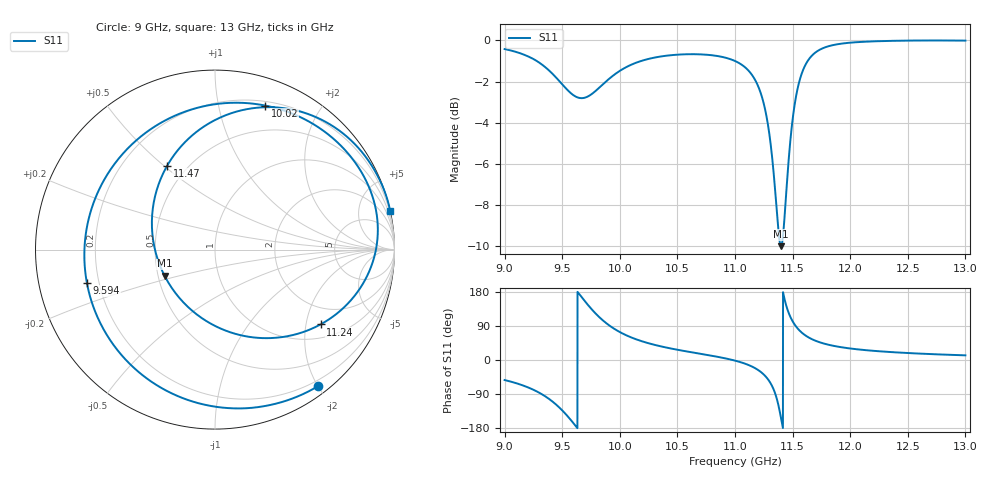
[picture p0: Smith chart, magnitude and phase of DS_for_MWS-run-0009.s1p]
! TOUCHSTONE file generated by CST DESIGN STUDIO
! Date and time: Tue Feb  4 18:21:18 2025
! Project name: C:\Work\MatlabApps\UnitCellOptimizationMatlab\CST\unitcell.cst
! Tree item: Tasks\Sweep1\SPara1\S-Parameters
! Header version: 2024
! Port assignment regex: !\s*Touchstone port\s*([0-9]+)\s*=\s*(CST MWS port|CST DES external port|CST DES block port)\s*(.+)\s* \(\"(.*)\"\)(\s*mode\s*([0-9]+))?.*
! Touchstone port assignment:
! Touchstone port 1 = CST DES external port 1 ("")
# GHz S MA R 50
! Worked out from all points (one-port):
!   4001 points, 9 GHz to 13 GHz, reference 50 ohm
!   lowest |S11| = -10.0 dB at 11.4 GHz (marker M1), VSWR 1.93, Z = 27.1 - j8.77 ohm
!   |S11| at or under -10 dB: nowhere
!   S11 on the Smith chart (normalised r, x): 9 GHz: 0.12, -2.00; 9.594 GHz: 0.15, -0.13; 10.02 GHz: 0.24, +1.38; 11.24 GHz: 1.40, -2.43; 11.47 GHz: 0.39, +0.51; 13 GHz: 0.04, +9.30
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9  0.953 -52.9
9.166  0.9241 -67.9
9.318  0.8765 -89.3
9.415  0.8304 -109.5
9.5  0.7826 -132.9
9.594  0.7375 -165.4
9.686  0.725 159.3
9.796  0.7567 120.8
9.888  0.7985 95.9
10  0.8437 73.7
10.019  0.8501 70.7
10.226  0.8986 46.2
10.5  0.9237 27.0
11  0.8916 -1.6
11.142  0.8288 -16.5
11.239  0.721 -35.3
11.331  0.4918 -74.5
11.365  0.3782 -104.6
11.399  0.3166 -152.6
11.434  0.3857 155.7
11.472  0.5379 119.7
11.5  0.6427 102.3
11.571  0.8178 74.6
11.688  0.9301 52.2
11.816  0.9691 39.9
12  0.9877 30.4
12.5  0.9992 18.4
13  0.9992 12.3
